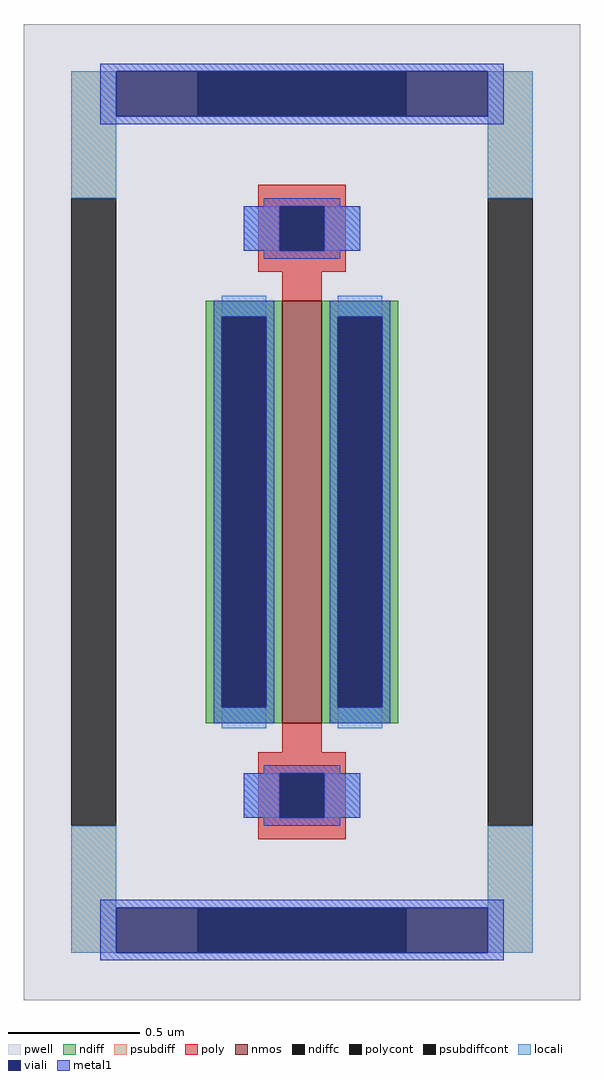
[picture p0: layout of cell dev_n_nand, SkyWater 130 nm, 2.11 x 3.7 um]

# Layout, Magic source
magic
tech sky130A
magscale 1 2
<< pwell >>
rect -211 -370 211 370
<< nmos >>
rect -15 -160 15 160
<< ndiff >>
rect -73 148 -15 160
rect -73 -148 -61 148
rect -27 -148 -15 148
rect -73 -160 -15 -148
rect 15 148 73 160
rect 15 -148 27 148
rect 61 -148 73 148
rect 15 -160 73 -148
<< ndiffc >>
rect -61 -148 -27 148
rect 27 -148 61 148
<< psubdiff >>
rect -175 300 -79 334
rect 79 300 175 334
rect -175 238 -141 300
rect 141 238 175 300
rect -175 -300 -141 -238
rect 141 -300 175 -238
rect -175 -334 -79 -300
rect 79 -334 175 -300
<< psubdiffcont >>
rect -79 300 79 334
rect -175 -238 -141 238
rect 141 -238 175 238
rect -79 -334 79 -300
<< poly >>
rect -33 232 33 248
rect -33 198 -17 232
rect 17 198 33 232
rect -33 182 33 198
rect -15 160 15 182
rect -15 -182 15 -160
rect -33 -198 33 -182
rect -33 -232 -17 -198
rect 17 -232 33 -198
rect -33 -248 33 -232
<< polycont >>
rect -17 198 17 232
rect -17 -232 17 -198
<< locali >>
rect -175 238 -141 334
rect 141 238 175 334
rect -44 198 -17 232
rect 17 198 44 232
rect -61 148 -27 164
rect -61 -164 -27 -148
rect 27 148 61 164
rect 27 -164 61 -148
rect -44 -232 -17 -198
rect 17 -232 44 -198
rect -175 -334 -141 -238
rect 141 -334 175 -238
<< viali >>
rect -141 300 -79 334
rect -79 300 79 334
rect 79 300 141 334
rect -17 198 17 232
rect -61 -148 -27 148
rect 27 -148 61 148
rect -17 -232 17 -198
rect -141 -334 -79 -300
rect -79 -334 79 -300
rect 79 -334 141 -300
<< metal1 >>
rect -153 334 153 340
rect -153 300 -141 334
rect 141 300 153 334
rect -153 294 153 300
rect -29 232 29 238
rect -44 198 -17 232
rect 17 198 44 232
rect -29 192 29 198
rect -67 148 -21 160
rect -67 -148 -61 148
rect -27 -148 -21 148
rect -67 -160 -21 -148
rect 21 148 67 160
rect 21 -148 27 148
rect 61 -148 67 148
rect 21 -160 67 -148
rect -29 -198 29 -192
rect -44 -232 -17 -198
rect 17 -232 44 -198
rect -29 -238 29 -232
rect -153 -300 153 -294
rect -153 -334 -141 -300
rect 141 -334 153 -300
rect -153 -340 153 -334
<< properties >>
string FIXED_BBOX -158 -317 158 317
<< end >>
